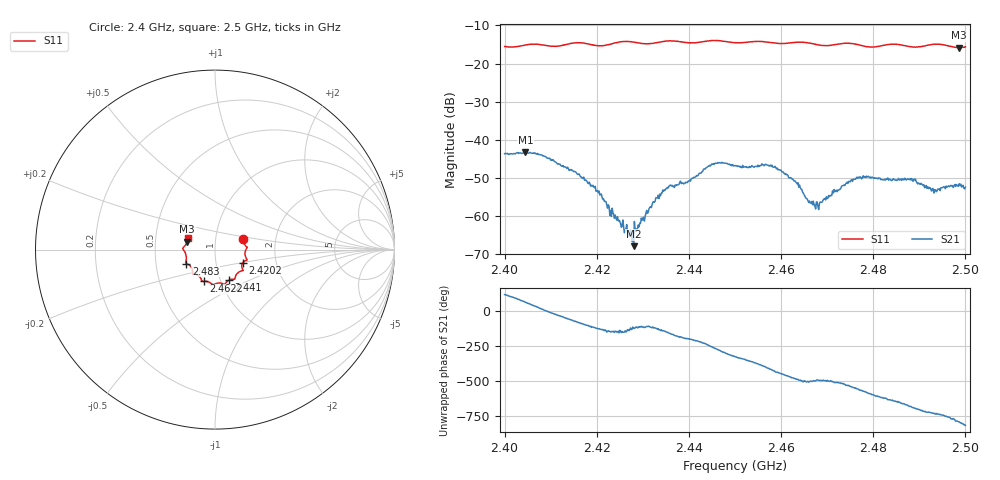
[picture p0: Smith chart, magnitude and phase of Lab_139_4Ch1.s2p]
# Hz S RI R 50
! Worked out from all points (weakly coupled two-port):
!   601 points, 2.4 GHz to 2.5 GHz, reference 50 ohm
!   highest |S21| = -43.31 dB at 2.4045 GHz (marker M1); lowest = -68.0 dB at 2.428 GHz (marker M2)
!   lowest |S11| = -15.8 dB at 2.4987 GHz (marker M3), VSWR 1.39, Z = 36.4 + j3.34 ohm
!   |S11| at or under -10 dB: start of sweep to end of sweep
!   S12 and S22 are empty: the file has one direction only
!   S11 on the Smith chart (normalised r, x): 2.4 GHz: 1.36, +0.17; 2.4202 GHz: 1.35, -0.20; 2.441 GHz: 1.09, -0.39; 2.4622 GHz: 0.83, -0.30; 2.483 GHz: 0.72, -0.12; 2.5 GHz: 0.73, +0.09
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2.4e9  0.1565 0.0604  -0.00338 0.0056  0 0  0 0
2.4045e9  0.1745 0.0167  0.00278 0.00624  0 0  0 0
2.4085e9  0.1748 0.0053  0.00602 0.00109  0 0  0 0
2.416667e9  0.178 -0.0582  0.00027 -0.00322  0 0  0 0
2.420167e9  0.1558 -0.0721  -0.00119 -0.0018  0 0  0 0
2.425667e9  0.1569 -0.115  -0.000751 -0.000464  0 0  0 0
2.428e9  0.1509 -0.1176  -0.000191 -0.000351  0 0  0 0
2.433333e9  0.1127 -0.1525  -0.00102 -0.00155  0 0  0 0
2.441e9  0.0766 -0.1705  -0.0029 0.00134  0 0  0 0
2.445333e9  0.0536 -0.1938  -0.000903 0.00474  0 0  0 0
2.45e9  0.0262 -0.1861  0.00373 0.00269  0 0  0 0
2.4575e9  -0.0214 -0.1884  0.00278 -0.00357  0 0  0 0
2.462167e9  -0.0634 -0.1764  -0.00119 -0.00292  0 0  0 0
2.466667e9  -0.0763 -0.1668  -0.00121 -0.000954  0 0  0 0
2.4685e9  -0.0841 -0.1525  -0.00106 -0.00109  0 0  0 0
2.476667e9  -0.1248 -0.1257  -0.00299 0.000869  0 0  0 0
2.483e9  -0.1591 -0.078  -0.000131 0.00304  0 0  0 0
2.483333e9  -0.1606 -0.0774  0.000123 0.00293  0 0  0 0
2.488667e9  -0.1598 -0.0393  0.00243 0.00146  0 0  0 0
2.493167e9  -0.1794 0.00389  0.00197 -0.000308  0 0  0 0
2.498667e9  -0.1557 0.0447  0.00085 -0.0025  0 0  0 0
2.5e9  -0.1527 0.0633  -0.000279 -0.00236  0 0  0 0
